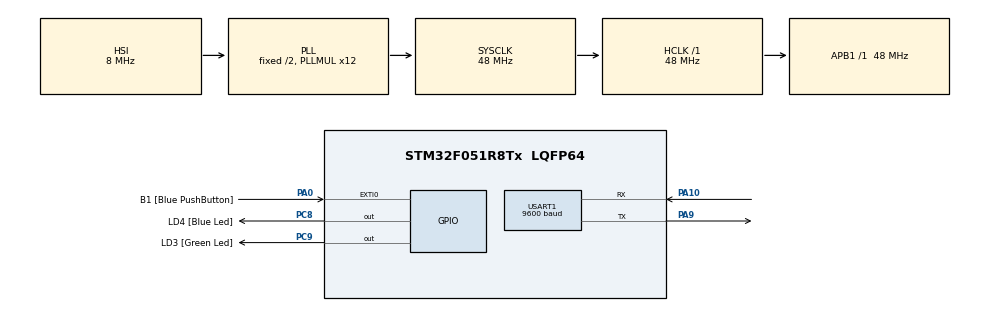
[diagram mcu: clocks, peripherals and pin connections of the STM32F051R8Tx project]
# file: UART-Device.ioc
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Mcu.Family=STM32F0
Mcu.Name=STM32F051R8Tx
Mcu.Package=LQFP64
NVIC.USART1_IRQn=true\:0\:0\:false\:false\:true\:true\:true\:true
PA0.GPIO_Label=B1 [Blue PushButton]
PA0.GPIO_ModeDefaultEXTI=GPIO_MODE_EVT_RISING
PA0.Signal=GPXTI0
PA10.Mode=Asynchronous
PA10.Signal=USART1_RX
PA13.GPIO_Label=SWDIO
PA13.Mode=Serial_Wire
PA13.Signal=SYS_SWDIO
PA14.GPIO_Label=SWCLK
PA14.Mode=Serial_Wire
PA14.Signal=SYS_SWCLK
PA9.Mode=Asynchronous
PA9.Signal=USART1_TX
PC8.GPIO_Label=LD4 [Blue Led]
PC8.Signal=GPIO_Output
PC9.GPIO_Label=LD3 [Green Led]
PC9.Signal=GPIO_Output
ProjectManager.HeapSize=0x200
ProjectManager.StackSize=0x400
ProjectManager.TargetToolchain=MDK-ARM V5.32
RCC.AHBFreq_Value=48000000
RCC.APB1Freq_Value=48000000
RCC.APB1TimFreq_Value=48000000
RCC.HCLKFreq_Value=48000000
RCC.PLLMUL=RCC_PLL_MUL12
RCC.SYSCLKFreq_VALUE=48000000
RCC.SYSCLKSource=RCC_SYSCLKSOURCE_PLLCLK
USART1.BaudRate=9600
USART1.VirtualMode-Asynchronous=VM_ASYNC
board=STM32F0DISCOVERY

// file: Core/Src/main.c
/* USER CODE BEGIN Header */
/**
  ******************************************************************************
  * @file           : main.c
  * @brief          : Main program body
  ******************************************************************************
  * @attention
  *
  * Copyright (c) 2023 STMicroelectronics.
  * All rights reserved.
  *
  * This software is licensed under terms that can be found in the LICENSE file
  * in the root directory of this software component.
  * If no LICENSE file comes with this software, it is provided AS-IS.
  *
  ******************************************************************************
  */
/* USER CODE END Header */
#include "main.h"
#include <stdio.h>
#include <string.h>

UART_HandleTypeDef huart1;

/* USER CODE BEGIN PV */
/* Private variables ---------------------------------------------------------*/
char Rx_indx, Rx_data[2], Rx_Buffer[100], Transfer_cplt;
int i = 0;
int len;
char buffer[100];
/* USER CODE END PV */

void SystemClock_Config(void);
static void MX_GPIO_Init(void);
static void MX_USART1_UART_Init(void);
/* USER CODE BEGIN PFP */
/* Private function prototypes -----------------------------------------------*/
void HAL_UART_RxCpltCallback(UART_HandleTypeDef *huart)
{
    uint8_t i;
    if (huart->Instance == USART1)  //current UART
        {
        if (Rx_indx==0) {for (i=0;i<100;i++) Rx_Buffer[i]=0;}   //clear Rx_Buffer before receiving new data

        if (Rx_data[0]!=13) //if received data different from ascii 13 (enter)
            {
            Rx_Buffer[Rx_indx++]=Rx_data[0];    //add data to Rx_Buffer
            }
        else            //if received data = 13
            {
            Rx_indx=0;
            Transfer_cplt=1;//transfer complete, data is ready to read
            }

        HAL_UART_Receive_IT(&huart1, Rx_data, 1);   //activate UART receive interrupt every time
        }

}

#ifdef __GNUC__
  #define PUTCHAR_PROTOTYPE int __io_putchar(int ch)
#else
  #define PUTCHAR_PROTOTYPE int fputc(int ch, FILE *f)
#endif /* __GNUC__ */

/**
  * @brief  Retargets the C library printf function to the USART.
  * @param  None
  * @retval None
  */
PUTCHAR_PROTOTYPE
{
    /* Place your implementation of fputc here */
    /* e.g. write a character to the USART */
    HAL_UART_Transmit(&huart1, (uint8_t *)&ch, 1, 100);

    return ch;
}

/* USER CODE END PFP */

int main(void)
{

  /* MCU Configuration--------------------------------------------------------*/

  /* Reset of all peripherals, Initializes the Flash interface and the Systick. */
  HAL_Init();

  /* Configure the system clock */
  SystemClock_Config();

  /* Initialize all configured peripherals */
  MX_GPIO_Init();
  MX_USART1_UART_Init();
  /* USER CODE BEGIN 2 */
	HAL_UART_Receive_IT(&huart1, Rx_data, 1);   //activate UART receive interrupt every time

  /* USER CODE END 2 */

  /* Infinite loop */
  /* USER CODE BEGIN WHILE */
  while (1)
  {
		if(Transfer_cplt)
		{
		sprintf(buffer,"%s\r\n",Rx_Buffer);
		len=strlen(buffer);
		HAL_UART_Transmit(&huart1, buffer, len, 1000);
		Transfer_cplt=0;
			HAL_Delay(500);

		i++;
		}
    /* USER CODE END WHILE */

  }
}

void SystemClock_Config(void)
{
  RCC_OscInitTypeDef RCC_OscInitStruct = {0};
  RCC_ClkInitTypeDef RCC_ClkInitStruct = {0};
  RCC_PeriphCLKInitTypeDef PeriphClkInit = {0};

  /** Initializes the RCC Oscillators according to the specified parameters
  * in the RCC_OscInitTypeDef structure.
  */
  RCC_OscInitStruct.OscillatorType = RCC_OSCILLATORTYPE_HSI;
  RCC_OscInitStruct.HSIState = RCC_HSI_ON;
  RCC_OscInitStruct.HSICalibrationValue = RCC_HSICALIBRATION_DEFAULT;
  RCC_OscInitStruct.PLL.PLLState = RCC_PLL_ON;
  RCC_OscInitStruct.PLL.PLLSource = RCC_PLLSOURCE_HSI;
  RCC_OscInitStruct.PLL.PLLMUL = RCC_PLL_MUL12;
  RCC_OscInitStruct.PLL.PREDIV = RCC_PREDIV_DIV1;
  if (HAL_RCC_OscConfig(&RCC_OscInitStruct) != HAL_OK)
  {
    Error_Handler();
  }

  /** Initializes the CPU, AHB and APB buses clocks
  */
  RCC_ClkInitStruct.ClockType = RCC_CLOCKTYPE_HCLK|RCC_CLOCKTYPE_SYSCLK
                              |RCC_CLOCKTYPE_PCLK1;
  RCC_ClkInitStruct.SYSCLKSource = RCC_SYSCLKSOURCE_PLLCLK;
  RCC_ClkInitStruct.AHBCLKDivider = RCC_SYSCLK_DIV1;
  RCC_ClkInitStruct.APB1CLKDivider = RCC_HCLK_DIV1;

  if (HAL_RCC_ClockConfig(&RCC_ClkInitStruct, FLASH_LATENCY_1) != HAL_OK)
  {
    Error_Handler();
  }
  PeriphClkInit.PeriphClockSelection = RCC_PERIPHCLK_USART1;
  PeriphClkInit.Usart1ClockSelection = RCC_USART1CLKSOURCE_PCLK1;
  if (HAL_RCCEx_PeriphCLKConfig(&PeriphClkInit) != HAL_OK)
  {
    Error_Handler();
  }
}

static void MX_USART1_UART_Init(void)
{

  huart1.Instance = USART1;
  huart1.Init.BaudRate = 9600;
  huart1.Init.WordLength = UART_WORDLENGTH_8B;
  huart1.Init.StopBits = UART_STOPBITS_1;
  huart1.Init.Parity = UART_PARITY_NONE;
  huart1.Init.Mode = UART_MODE_TX_RX;
  huart1.Init.HwFlowCtl = UART_HWCONTROL_NONE;
  huart1.Init.OverSampling = UART_OVERSAMPLING_16;
  huart1.Init.OneBitSampling = UART_ONE_BIT_SAMPLE_DISABLE;
  huart1.AdvancedInit.AdvFeatureInit = UART_ADVFEATURE_NO_INIT;
  if (HAL_UART_Init(&huart1) != HAL_OK)
  {
    Error_Handler();
  }

}

static void MX_GPIO_Init(void)
{
  GPIO_InitTypeDef GPIO_InitStruct = {0};

  /* GPIO Ports Clock Enable */
  __HAL_RCC_GPIOA_CLK_ENABLE();
  __HAL_RCC_GPIOC_CLK_ENABLE();

  /*Configure GPIO pin Output Level */
  HAL_GPIO_WritePin(GPIOC, LD4_Pin|LD3_Pin, GPIO_PIN_RESET);

  /*Configure GPIO pin : B1_Pin */
  GPIO_InitStruct.Pin = B1_Pin;
  GPIO_InitStruct.Mode = GPIO_MODE_EVT_RISING;
  GPIO_InitStruct.Pull = GPIO_NOPULL;
  HAL_GPIO_Init(B1_GPIO_Port, &GPIO_InitStruct);

  /*Configure GPIO pins : LD4_Pin LD3_Pin */
  GPIO_InitStruct.Pin = LD4_Pin|LD3_Pin;
  GPIO_InitStruct.Mode = GPIO_MODE_OUTPUT_PP;
  GPIO_InitStruct.Pull = GPIO_NOPULL;
  GPIO_InitStruct.Speed = GPIO_SPEED_FREQ_LOW;
  HAL_GPIO_Init(GPIOC, &GPIO_InitStruct);

}

void Error_Handler(void)
{
  __disable_irq();
  while (1)
  {
  }
}
